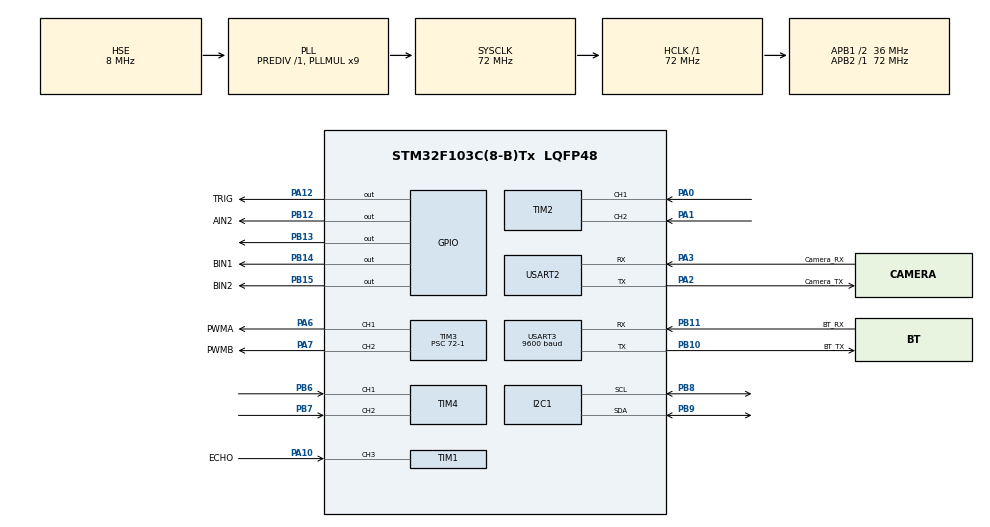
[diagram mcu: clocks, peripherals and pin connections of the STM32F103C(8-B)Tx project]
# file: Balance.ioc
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Dma.Request0=USART3_RX
Dma.Request1=USART3_TX
Dma.Request2=USART2_RX
Dma.Request3=USART2_TX
Dma.USART2_RX.2.Direction=DMA_PERIPH_TO_MEMORY
Dma.USART2_RX.2.Instance=DMA1_Channel6
Dma.USART2_RX.2.MemDataAlignment=DMA_MDATAALIGN_BYTE
Dma.USART2_RX.2.MemInc=DMA_MINC_ENABLE
Dma.USART2_RX.2.Mode=DMA_NORMAL
Dma.USART2_RX.2.PeriphDataAlignment=DMA_PDATAALIGN_BYTE
Dma.USART2_RX.2.PeriphInc=DMA_PINC_DISABLE
Dma.USART2_RX.2.Priority=DMA_PRIORITY_LOW
Dma.USART2_TX.3.Direction=DMA_MEMORY_TO_PERIPH
Dma.USART2_TX.3.Instance=DMA1_Channel7
Dma.USART2_TX.3.MemDataAlignment=DMA_MDATAALIGN_BYTE
Dma.USART2_TX.3.MemInc=DMA_MINC_ENABLE
Dma.USART2_TX.3.Mode=DMA_NORMAL
Dma.USART2_TX.3.PeriphDataAlignment=DMA_PDATAALIGN_BYTE
Dma.USART2_TX.3.PeriphInc=DMA_PINC_DISABLE
Dma.USART2_TX.3.Priority=DMA_PRIORITY_LOW
Dma.USART3_RX.0.Direction=DMA_PERIPH_TO_MEMORY
Dma.USART3_RX.0.Instance=DMA1_Channel3
Dma.USART3_RX.0.MemDataAlignment=DMA_MDATAALIGN_BYTE
Dma.USART3_RX.0.MemInc=DMA_MINC_ENABLE
Dma.USART3_RX.0.Mode=DMA_NORMAL
Dma.USART3_RX.0.PeriphDataAlignment=DMA_PDATAALIGN_BYTE
Dma.USART3_RX.0.PeriphInc=DMA_PINC_DISABLE
Dma.USART3_RX.0.Priority=DMA_PRIORITY_LOW
Dma.USART3_TX.1.Direction=DMA_MEMORY_TO_PERIPH
Dma.USART3_TX.1.Instance=DMA1_Channel2
Dma.USART3_TX.1.MemDataAlignment=DMA_MDATAALIGN_BYTE
Dma.USART3_TX.1.MemInc=DMA_MINC_ENABLE
Dma.USART3_TX.1.Mode=DMA_NORMAL
Dma.USART3_TX.1.PeriphDataAlignment=DMA_PDATAALIGN_BYTE
Dma.USART3_TX.1.PeriphInc=DMA_PINC_DISABLE
Dma.USART3_TX.1.Priority=DMA_PRIORITY_LOW
I2C1.I2C_Mode=I2C_Fast
Mcu.Family=STM32F1
Mcu.Name=STM32F103C(8-B)Tx
Mcu.Package=LQFP48
NVIC.DMA1_Channel2_IRQn=true\:0\:0\:false\:false\:true\:false\:true\:true
NVIC.DMA1_Channel3_IRQn=true\:0\:0\:false\:false\:true\:false\:true\:true
NVIC.DMA1_Channel6_IRQn=true\:0\:0\:false\:false\:true\:false\:true\:true
NVIC.DMA1_Channel7_IRQn=true\:0\:0\:false\:false\:true\:false\:true\:true
NVIC.PriorityGroup=NVIC_PRIORITYGROUP_4
NVIC.TIM1_CC_IRQn=true\:0\:0\:false\:false\:true\:true\:true\:true
NVIC.USART3_IRQn=true\:0\:0\:false\:false\:true\:false\:true\:true
PA0-WKUP.Signal=S_TIM2_CH1_ETR
PA1.Signal=S_TIM2_CH2
PA10.GPIO_Label=ECHO
PA10.Signal=S_TIM1_CH3
PA12.GPIO_Label=TRIG
PA12.Signal=GPIO_Output
PA13.Mode=Serial_Wire
PA13.Signal=SYS_JTMS-SWDIO
PA14.Mode=Serial_Wire
PA14.Signal=SYS_JTCK-SWCLK
PA2.GPIO_Label=Camera_TX
PA2.Mode=Asynchronous
PA2.Signal=USART2_TX
PA3.GPIO_Label=Camera_RX
PA3.Mode=Asynchronous
PA3.Signal=USART2_RX
PA6.GPIO_Label=PWMA
PA6.Signal=S_TIM3_CH1
PA7.GPIO_Label=PWMB
PA7.Signal=S_TIM3_CH2
PB10.GPIO_Label=BT_TX
PB10.Mode=Asynchronous
PB10.Signal=USART3_TX
PB11.GPIO_Label=BT_RX
PB11.Mode=Asynchronous
PB11.Signal=USART3_RX
PB12.GPIO_Label=AIN2
PB12.Signal=GPIO_Output
PB13.Signal=GPIO_Output
PB14.GPIO_Label=BIN1
PB14.Signal=GPIO_Output
PB15.GPIO_Label=BIN2
PB15.Signal=GPIO_Output
PB6.Signal=S_TIM4_CH1
PB7.Signal=S_TIM4_CH2
PB8.Mode=I2C
PB8.Signal=I2C1_SCL
PB9.Mode=I2C
PB9.Signal=I2C1_SDA
PD0-OSC_IN.Mode=HSE-External-Oscillator
PD0-OSC_IN.Signal=RCC_OSC_IN
PD1-OSC_OUT.Mode=HSE-External-Oscillator
PD1-OSC_OUT.Signal=RCC_OSC_OUT
ProjectManager.HeapSize=0x200
ProjectManager.StackSize=0x400
ProjectManager.TargetToolchain=MDK-ARM V5.32
RCC.AHBFreq_Value=72000000
RCC.APB1CLKDivider=RCC_HCLK_DIV2
RCC.APB1Freq_Value=36000000
RCC.APB1TimFreq_Value=72000000
RCC.APB2Freq_Value=72000000
RCC.APB2TimFreq_Value=72000000
RCC.HCLKFreq_Value=72000000
RCC.PLLMUL=RCC_PLL_MUL9
RCC.PLLSourceVirtual=RCC_PLLSOURCE_HSE
RCC.SYSCLKFreq_VALUE=72000000
RCC.SYSCLKSource=RCC_SYSCLKSOURCE_PLLCLK
RCC.USBFreq_Value=72000000
SH.S_TIM1_CH3.0=TIM1_CH3,Input_Capture3_from_TI3
SH.S_TIM2_CH1_ETR.0=TIM2_CH1,Encoder_Interface
SH.S_TIM2_CH2.0=TIM2_CH2,Encoder_Interface
SH.S_TIM3_CH1.0=TIM3_CH1,PWM Generation1 CH1
SH.S_TIM3_CH2.0=TIM3_CH2,PWM Generation2 CH2
SH.S_TIM4_CH1.0=TIM4_CH1,Encoder_Interface
SH.S_TIM4_CH2.0=TIM4_CH2,Encoder_Interface
TIM1.Channel-Input_Capture3_from_TI3=TIM_CHANNEL_3
TIM1.Channel-Input_Capture4_from_TI3_63=TIM_CHANNEL_4
TIM1.ICPolarity_CH4=TIM_INPUTCHANNELPOLARITY_FALLING
TIM1.Prescaler=72-1
TIM3.Channel-PWM\ Generation1\ CH1=TIM_CHANNEL_1
TIM3.Channel-PWM\ Generation2\ CH2=TIM_CHANNEL_2
TIM3.Period=1000-1
TIM3.Prescaler=72-1
TIM3.Pulse-PWM\ Generation1\ CH1=50
USART2.VirtualMode=VM_ASYNC
USART3.BaudRate=9600
USART3.VirtualMode=VM_ASYNC
VP_TIM1_VS_ClockSourceINT.Mode=Internal
VP_TIM1_VS_indirect_ch3.Mode=Input_Capture4_from_TI3_63
VP_TIM3_VS_ClockSourceINT.Mode=Internal
board=custom

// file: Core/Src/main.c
/* USER CODE BEGIN Header */
/**
  ******************************************************************************
  * @file           : main.c
  * @brief          : 主程序文件 - STM32平衡车控制系统
  *                   实现平衡车的主控制逻辑，包括传感器数据采集、
  *                   平衡控制算法、电机驱动和蓝牙通信等功能
  ******************************************************************************
  * @attention
  *
  * Copyright (c) 2025 STMicroelectronics.
  * All rights reserved.
  *
  * This software is licensed under terms that can be found in the LICENSE file
  * in the root directory of this software component.
  * If no LICENSE file comes with this software, it is provided AS-IS.
  *
  ******************************************************************************
  */
/* USER CODE END Header */
#include "main.h"
#include "dma.h"
#include "i2c.h"
#include "tim.h"
#include "usart.h"
#include "gpio.h"

/* USER CODE BEGIN Includes */
/* 标准C库 */
#include <string.h>       // 字符串处理函数
#include <stdio.h>        // 标准输入输出函数（sprintf等）
#include <stdlib.h>       // 标准库函数

/* 自定义模块头文件 */
#include "mpu6050.h"      // MPU6050六轴传感器驱动
#include "TB6612.h"       // TB6612电机驱动模块
#include "motorencoder.h" // 电机编码器处理模块
#include "ultrasonic.h"   // 超声波测距模块
#include "balance_control.h" // 平衡控制算法模块
#include "bluetooth.h"    // 蓝牙通信模块
#include "k230_vision.h"  // K230视觉模块
#include "motor_test.h"   // 电机测试模块
/* USER CODE END Includes */

/* USER CODE BEGIN PD */
/* 缓冲区大小定义 */
#define RX_BUFFER_SIZE 10             // 串口接收缓冲区大小
#define TX_BUFFER_SIZE 20             // 串口发送缓冲区大小

/* 系统任务更新间隔定义（毫秒） */
#define BALANCE_CONTROL_INTERVAL 5    // 平衡控制更新间隔(毫秒) - 高频率保证控制精度
#define ENCODER_UPDATE_INTERVAL 10    // 编码器更新间隔(毫秒) - 获取电机速度反馈
#define ULTRASONIC_UPDATE_INTERVAL 50 // 超声波更新间隔(毫秒) - 障碍物检测
#define BLUETOOTH_UPDATE_INTERVAL 20  // 蓝牙更新间隔(毫秒) - 处理遥控指令
#define STATUS_SEND_INTERVAL 3000     // 状态发送间隔(毫秒) - 调试信息输出
/* USER CODE END PD */

/* USER CODE BEGIN PV */
/* 串口通信缓冲区 */
uint8_t rx_buffer[RX_BUFFER_SIZE];    // 串口接收数据缓冲区
uint8_t tx_buffer[TX_BUFFER_SIZE];    // 串口发送数据缓冲区
volatile uint8_t rx_data_ready = 0;   // 接收数据就绪标志

/* 任务调度时间变量 - 记录各模块上次更新时间 */
uint32_t last_balance_update = 0;     // 平衡控制上次更新时间
uint32_t last_encoder_update = 0;     // 编码器上次更新时间
uint32_t last_ultrasonic_update = 0;  // 超声波上次更新时间
uint32_t last_bluetooth_update = 0;   // 蓝牙通信上次更新时间
uint32_t last_status_send = 0;        // 状态信息上次发送时间
uint32_t last_vision_update = 0;      // K230视觉模块上次更新时间

/* 系统状态标志 */
uint8_t system_initialized = 0;       // 系统初始化完成标志
/* USER CODE END PV */

void SystemClock_Config(void);
/* USER CODE BEGIN PFP */
void HAL_UART_RxCpltCallback(UART_HandleTypeDef *huart); // 串口接收完成回调函数
/* USER CODE END PFP */

/* USER CODE BEGIN 0 */
/**
 * @brief 串口接收完成回调函数
 * @param huart: 串口句柄指针
 * @note 当串口接收到数据时，HAL库会自动调用此函数
 *       用于处理不同串口的数据接收
 */
/* 全局变量 - 串口接收缓冲区 */
uint8_t bt_rx_byte;   // 蓝牙接收字节缓冲
uint8_t k230_rx_byte; // K230接收字节缓冲

void HAL_UART_RxCpltCallback(UART_HandleTypeDef *huart)
{

  if(huart->Instance == USART3)
  {
    // 蓝牙数据接收处理 (HC-05使用UART3: PB10-TX, PB11-RX)
    Bluetooth_HandleRxData(bt_rx_byte);
    // 重新启动接收 - 保持持续接收状态
    HAL_UART_Receive_IT(&huart3, &bt_rx_byte, 1);
  }
  else if(huart->Instance == USART2)
  {
    // K230视觉模块数据接收处理 (PA2-TX, PA3-RX)
    // 获取接收到的字节数据并传递给K230处理函数
    K230_Vision_ReceiveData(k230_rx_byte);
    // 重新启动接收 - 保持持续接收状态
    HAL_UART_Receive_IT(&huart2, &k230_rx_byte, 1);
  }
}
/* USER CODE END 0 */

int main(void)
{

  /* USER CODE BEGIN 1 */
  /* 用户自定义初始化代码区域1 */
  /* USER CODE END 1 */

  /* MCU Configuration--------------------------------------------------------*/

  /* Reset of all peripherals, Initializes the Flash interface and the Systick. */
  HAL_Init();

  /* USER CODE BEGIN Init */
  /* 用户自定义初始化代码区域2 */
  /* USER CODE END Init */

  /* Configure the system clock */
  SystemClock_Config();

  /* USER CODE BEGIN SysInit */
  /* 用户自定义系统初始化代码区域 */
  /* USER CODE END SysInit */

  /* Initialize all configured peripherals */
  MX_GPIO_Init();
  MX_DMA_Init();
  MX_USART3_UART_Init();
  MX_I2C1_Init();
  MX_TIM1_Init();
  MX_TIM2_Init();
  MX_TIM3_Init();
  MX_USART2_UART_Init();
  MX_TIM4_Init();
  /* USER CODE BEGIN 2 */
  // 启动K230视觉模块串口接收中断
  HAL_UART_Receive_IT(&huart2, &k230_rx_byte, 1);
  /* 用户自定义初始化代码区域3 - 传感器和模块初始化 */

  uint8_t init_msg[200];         // 初始化信息缓冲区，用于串口输出调试信息

  // 延时等待系统稳定 - 确保电源和时钟稳定
  HAL_Delay(100);

  // 初始化蓝牙通信模块
  Bluetooth_Init();            // 配置蓝牙通信协议和命令解析
  // 启动蓝牙串口接收中断
  HAL_UART_Receive_IT(&huart3, &bt_rx_byte, 1);
  sprintf((char*)init_msg, "Bluetooth Communication initialized!\r\n");
  Bluetooth_SendMessage((char*)init_msg);
  HAL_Delay(100);

  // 初始化MPU6050六轴传感器（加速度计+陀螺仪）
  if (MPU6050_Init(&hi2c1) != 0)
  {
    sprintf((char*)init_msg, "MPU6050 initialization failed!\r\n");
    Bluetooth_SendMessage((char*)init_msg);
    HAL_Delay(100);
  }
  else
  {
    sprintf((char*)init_msg, "MPU6050 initialization successful!\r\n");
    Bluetooth_SendMessage((char*)init_msg);
    HAL_Delay(100);
    Kalman_Init();               // 初始化卡尔曼滤波器，用于姿态角度融合
  }

  // 初始化TB6612电机驱动模块
  TB6612_Init();               // 配置电机驱动引脚和PWM输出
  sprintf((char*)init_msg, "TB6612 Motor Driver initialized!\r\n");
  Bluetooth_SendMessage((char*)init_msg);
  HAL_Delay(100);

  // 初始化电机编码器
  MotorEncoder_Init();         // 配置编码器输入捕获，用于测量电机转速
  sprintf((char*)init_msg, "Motor Encoders initialized!\r\n");
  Bluetooth_SendMessage((char*)init_msg);
  HAL_Delay(100);

  // 初始化超声波测距传感器
  Ultrasonic_Init();           // 配置超声波触发和回响引脚，用于障碍物检测
  sprintf((char*)init_msg, "Ultrasonic sensor initialized!\r\n");
  Bluetooth_SendMessage((char*)init_msg);
  HAL_Delay(100);

  // 初始化平衡控制系统
  BalanceControl_Init();       // 初始化PID控制器和平衡算法参数
  sprintf((char*)init_msg, "Balance Control initialized!\r\n");
  Bluetooth_SendMessage((char*)init_msg);
  HAL_Delay(100);

  // 初始化K230视觉模块
  K230_Vision_Init(&huart2);   // 配置K230视觉模块通信
  // 手动启动K230串口接收中断
  // 注意：必须使用与回调函数中相同的变量地址
  extern uint8_t k230_rx_byte; // 声明外部变量
  HAL_UART_Receive_IT(&huart2, &k230_rx_byte, 1);
  sprintf((char*)init_msg, "K230 Vision Module initialized!\r\n");
  Bluetooth_SendMessage((char*)init_msg);
  HAL_Delay(100);

  /*
  // 初始化电机测试模块
  MotorTest_Init();            // 初始化电机测试功能
  sprintf((char*)init_msg, "Motor Test Module initialized!\r\n");
  Bluetooth_SendMessage((char*)init_msg);
  while(1){
    MotorTest_BothForward(500);
    for(int i=0;i<5;i++){
      MotorEncoder_Update();
      BalanceState.left_speed = MotorEncoder_GetSpeedMPS(&EncoderA);
      BalanceState.right_speed = MotorEncoder_GetSpeedMPS(&EncoderB);
      sprintf((char*)init_msg, "Forward_Speed: %f, %f\r\n", BalanceState.left_speed, BalanceState.right_speed);
      Bluetooth_SendStatus();
      HAL_Delay(1000);
    }
    MotorTest_BothBackward(500);
    for(int i=0;i<5;i++){
      MotorEncoder_Update();
      BalanceState.left_speed = MotorEncoder_GetSpeedMPS(&EncoderA);
      BalanceState.right_speed = MotorEncoder_GetSpeedMPS(&EncoderB);
      sprintf((char*)init_msg, "Backward_Speed: %f, %f\r\n", BalanceState.left_speed, BalanceState.right_speed);
      Bluetooth_SendStatus();
      HAL_Delay(1000);
    }
  }
  HAL_Delay(100);*/

  // 系统初始化完成标志
  system_initialized = 1;      // 设置系统初始化完成标志，允许主循环开始工作
  sprintf((char*)init_msg, "\r\n=== Balance Robot System Ready ===\r\n");
  Bluetooth_SendMessage((char*)init_msg);
  HAL_Delay(100);

  // 初始化任务调度时间变量 - 记录当前时间作为各模块的起始时间
  last_balance_update = HAL_GetTick();    // 平衡控制任务时间基准
  last_encoder_update = HAL_GetTick();    // 编码器更新任务时间基准
  last_ultrasonic_update = HAL_GetTick(); // 超声波测距任务时间基准
  last_bluetooth_update = HAL_GetTick();  // 蓝牙通信任务时间基准
  last_status_send = HAL_GetTick();       // 状态发送任务时间基准
  last_vision_update = HAL_GetTick();     // K230视觉模块任务时间基准
  /* USER CODE END 2 */

  /* Infinite loop */
  /* USER CODE BEGIN WHILE */
  /* 主程序无限循环 - 系统核心运行逻辑 */
  while (1)
  {
    /* USER CODE END WHILE */

    /* USER CODE BEGIN 3 */
    /* 用户自定义主循环代码区域 - 任务调度和控制逻辑 */

    // 只有在系统初始化完成后才执行主循环逻辑
    if(!system_initialized) continue;

    uint32_t current_time = HAL_GetTick();  // 获取当前系统时间戳（毫秒）

    /* 任务调度系统 - 基于时间片的多任务调度 */

    // K230视觉数据更新任务 (每20毫秒) - 视觉处理
    if (BalanceState.vision_mode != 0)
    {
      if(current_time - last_vision_update >= 20){
        last_vision_update = current_time;
        K230_Vision_Update();
      }
                    // 更新K230视觉模块数据
    }

    // 平衡控制更新任务 (每5毫秒) - 最高优先级
    if (current_time - last_balance_update >= BALANCE_CONTROL_INTERVAL)
    {
      last_balance_update = current_time;
      BalanceControl_Update();           // 执行平衡控制算法（PID计算、电机输出）
    }

    // 编码器更新任务 (每10毫秒) - 速度反馈
    if (current_time - last_encoder_update >= ENCODER_UPDATE_INTERVAL)
    {
      last_encoder_update = current_time;
      MotorEncoder_Update();             // 更新电机编码器数据，计算实际转速
    }

    // 超声波更新任务 (每50毫秒) - 障碍物检测
    if (current_time - last_ultrasonic_update >= ULTRASONIC_UPDATE_INTERVAL)
    {
      last_ultrasonic_update = current_time;
      Ultrasonic_Update();              // 执行超声波测距，更新障碍物距离信息
    }

    // 蓝牙通信更新任务 (每20毫秒) - 指令处理
    if (current_time - last_bluetooth_update >= BLUETOOTH_UPDATE_INTERVAL)
    {
      last_bluetooth_update = current_time;
      Bluetooth_Update();                // 处理蓝牙接收的控制指令
    }

    // 状态信息发送任务 (每10秒) - 调试和监控
    if (current_time - last_status_send >= STATUS_SEND_INTERVAL)
    {
      last_status_send = current_time;

      // 发送系统状态信息到串口（用于调试和监控）
      Bluetooth_SendStatus();
    }
  }
  /* USER CODE END 3 */
}

void SystemClock_Config(void)
{
  RCC_OscInitTypeDef RCC_OscInitStruct = {0};
  RCC_ClkInitTypeDef RCC_ClkInitStruct = {0};

  /** Initializes the RCC Oscillators according to the specified parameters
  * in the RCC_OscInitTypeDef structure.
  */
  RCC_OscInitStruct.OscillatorType = RCC_OSCILLATORTYPE_HSE;
  RCC_OscInitStruct.HSEState = RCC_HSE_ON;
  RCC_OscInitStruct.HSEPredivValue = RCC_HSE_PREDIV_DIV1;
  RCC_OscInitStruct.HSIState = RCC_HSI_ON;
  RCC_OscInitStruct.PLL.PLLState = RCC_PLL_ON;
  RCC_OscInitStruct.PLL.PLLSource = RCC_PLLSOURCE_HSE;
  RCC_OscInitStruct.PLL.PLLMUL = RCC_PLL_MUL9;
  if (HAL_RCC_OscConfig(&RCC_OscInitStruct) != HAL_OK)
  {
    Error_Handler();
  }

  /** Initializes the CPU, AHB and APB buses clocks
  */
  RCC_ClkInitStruct.ClockType = RCC_CLOCKTYPE_HCLK|RCC_CLOCKTYPE_SYSCLK
                              |RCC_CLOCKTYPE_PCLK1|RCC_CLOCKTYPE_PCLK2;
  RCC_ClkInitStruct.SYSCLKSource = RCC_SYSCLKSOURCE_PLLCLK;
  RCC_ClkInitStruct.AHBCLKDivider = RCC_SYSCLK_DIV1;
  RCC_ClkInitStruct.APB1CLKDivider = RCC_HCLK_DIV2;
  RCC_ClkInitStruct.APB2CLKDivider = RCC_HCLK_DIV1;

  if (HAL_RCC_ClockConfig(&RCC_ClkInitStruct, FLASH_LATENCY_2) != HAL_OK)
  {
    Error_Handler();
  }
}

void Error_Handler(void)
{
  /* USER CODE BEGIN Error_Handler_Debug */
  /* 用户可以在此添加自己的错误处理实现来报告HAL错误状态 */

  __disable_irq();                    // 禁用所有中断，防止系统进一步损坏

  // 可选：在此添加错误指示（如LED闪烁、串口输出错误信息等）
  // 例如：点亮错误指示LED，发送错误信息到串口

  while (1)                           // 进入死循环，等待系统复位
  {
    // 系统挂起，等待看门狗复位或手动复位
  }
  /* USER CODE END Error_Handler_Debug */
}

#ifdef  USE_FULL_ASSERT
/**
  * @brief  Reports the name of the source file and the source line number
  *         where the assert_param error has occurred.
  * @param  file: pointer to the source file name
  * @param  line: assert_param error line source number
  * @retval None
  */
void assert_failed(uint8_t *file, uint32_t line)
{
  /* USER CODE BEGIN 6 */
  /* 用户可以在此添加自己的实现来报告文件名和行号，
     例如: printf("参数错误: 文件 %s 第 %d 行\r\n", file, line) */

  // 可选：通过串口输出断言失败信息，便于调试
  // HAL_UART_Transmit(&huart3, (uint8_t*)"Assert Failed!\r\n", 16, 1000);

  /* USER CODE END 6 */
}
#endif /* USE_FULL_ASSERT */
